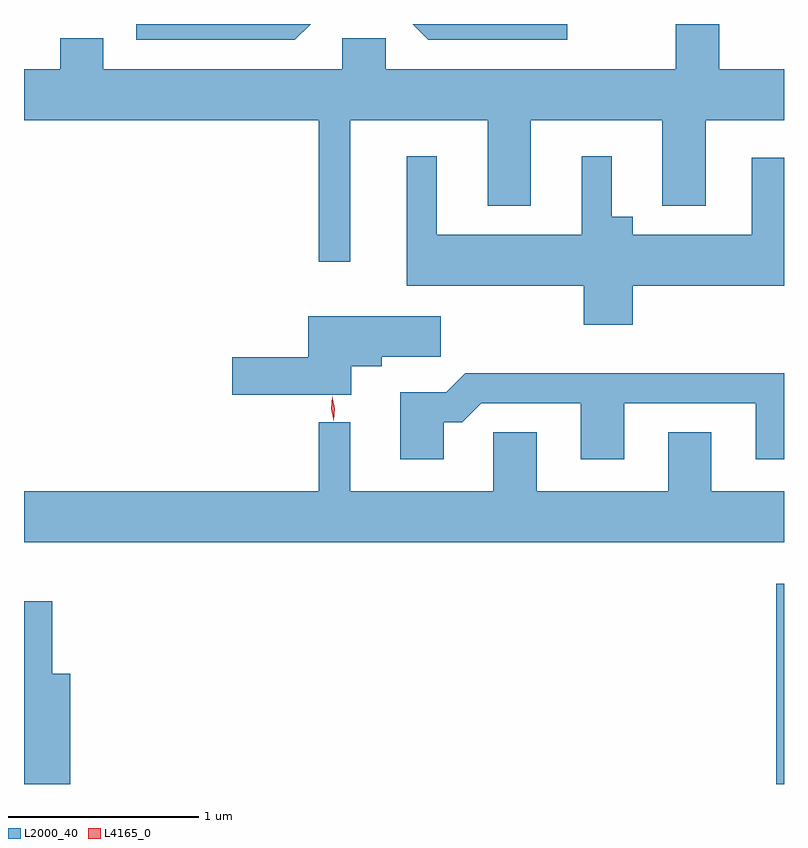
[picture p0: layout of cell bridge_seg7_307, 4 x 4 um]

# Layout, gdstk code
import gdstk
lib = gdstk.Library(unit=1e-6, precision=1e-09)
def R(c, l, rs):  # rectangles x0, y0, x1, y1
    for r in rs: c.add(gdstk.rectangle(r[:2], r[2:], *l))
def P(c, l, *ps):  # polygons
    for p in ps: c.add(gdstk.Polygon(p, *l))
L2000_40 = (2000, 40)
L4165_0 = (4165, 0)

bridge_seg7_307 = lib.new_cell('bridge_seg7_307')
R(bridge_seg7_307, L2000_40, [(1069.871,1755.223,1069.911,1756.278)])
P(bridge_seg7_307, L2000_40, [(1068.769,1759.223),(1067.957,1759.223),(1068.039,1759.141),(1068.769,1759.141)],
  [(1067.629,1758.716),(1068.351,1758.716),(1068.351,1758.266),(1068.579,1758.266),(1068.579,1758.716),(1069.271,1758.716),(1069.271,1758.266),(1069.499,1758.266),(1069.499,1758.716),(1069.911,1758.716),(1069.911,1758.984),(1069.569,1758.984),(1069.569,1759.223),(1069.341,1759.223),(1069.341,1758.984),(1067.814,1758.984),(1067.814,1759.149),(1067.586,1759.149),(1067.586,1758.984),(1066.329,1758.984),(1066.329,1759.149),(1066.101,1759.149),(1066.101,1758.984),(1065.911,1758.984),(1065.911,1758.716),(1067.461,1758.716),(1067.461,1757.973),(1067.629,1757.973)],
  [(1067.419,1759.223),(1066.501,1759.223),(1066.501,1759.141),(1067.337,1759.141)],
  [(1069.114,1757.846),(1069.911,1757.846),(1069.911,1758.519),(1069.741,1758.519),(1069.741,1758.114),(1069.114,1758.114),(1069.114,1758.209),(1069.004,1758.209),(1069.004,1758.528),(1068.846,1758.528),(1068.846,1758.114),(1068.084,1758.114),(1068.084,1758.528),(1067.926,1758.528),(1067.926,1757.846),(1068.856,1757.846),(1068.856,1757.641),(1069.114,1757.641)],
  [(1067.634,1757.421),(1067.794,1757.421),(1067.794,1757.471),(1068.104,1757.471),(1068.104,1757.684),(1067.406,1757.684),(1067.406,1757.469),(1067.006,1757.469),(1067.006,1757.271),(1067.634,1757.271)],
  [(1068.119,1757.126),(1068.217,1757.126),(1068.317,1757.226),(1068.841,1757.226),(1068.841,1756.931),(1069.069,1756.931),(1069.069,1757.226),(1069.761,1757.226),(1069.761,1756.931),(1069.911,1756.931),(1069.911,1757.384),(1068.234,1757.384),(1068.134,1757.284),(1067.891,1757.284),(1067.891,1756.931),(1068.119,1756.931)],
  [(1069.911,1756.764),(1069.529,1756.764),(1069.529,1757.074),(1069.301,1757.074),(1069.301,1756.764),(1068.609,1756.764),(1068.609,1757.074),(1068.381,1757.074),(1068.381,1756.764),(1067.629,1756.764),(1067.629,1757.128),(1067.461,1757.128),(1067.461,1756.764),(1065.911,1756.764),(1065.911,1756.496),(1069.911,1756.496)],
  [(1066.154,1755.804),(1066.059,1755.804),(1066.059,1756.184),(1065.911,1756.184),(1065.911,1755.223),(1066.154,1755.223)])
P(bridge_seg7_307, L4165_0, [(1067.54,1757.134),(1067.527,1757.198),(1067.533,1757.262),(1067.533,1757.263),(1067.534,1757.262),(1067.547,1757.199),(1067.542,1757.134),(1067.541,1757.134)])

lib.write_gds('bridge_seg7_307.gds')
